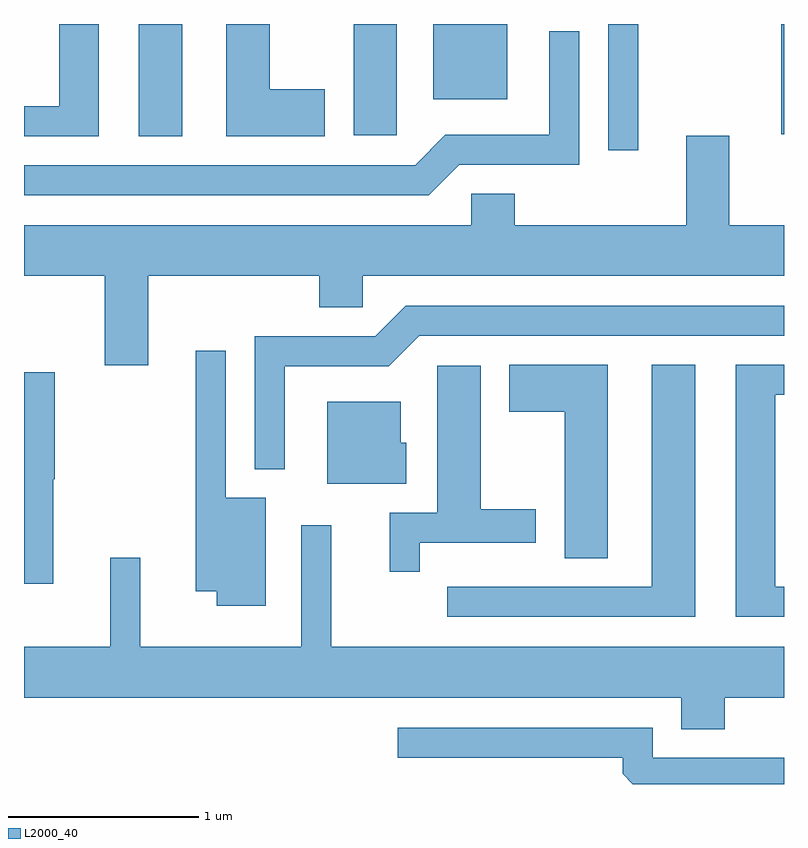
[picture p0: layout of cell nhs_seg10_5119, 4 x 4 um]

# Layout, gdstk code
import gdstk
lib = gdstk.Library(unit=1e-6, precision=1e-09)
def R(c, l, rs):  # rectangles x0, y0, x1, y1
    for r in rs: c.add(gdstk.rectangle(r[:2], r[2:], *l))
def P(c, l, *ps):  # polygons
    for p in ps: c.add(gdstk.Polygon(p, *l))
L2000_40 = (2000, 40)

nhs_seg10_5119 = lib.new_cell('nhs_seg10_5119')
R(nhs_seg10_5119, L2000_40, [(338.686,2167.858,338.844,2168.522), (336.216,2167.931,336.444,2168.522), (337.346,2167.936,337.574,2168.522), (339.596,2167.941,339.611,2168.522), (337.766,2168.126,338.154,2168.522)])
P(nhs_seg10_5119, L2000_40, [(336.004,2168.522),(335.796,2168.522),(335.796,2168.089),(335.611,2168.089),(335.611,2167.931),(336.004,2167.931)],
  [(337.194,2168.179),(336.904,2168.179),(336.904,2168.522),(336.676,2168.522),(336.676,2167.931),(337.194,2167.931)],
  [(337.902,2167.781),(338.534,2167.781),(338.534,2168.483),(338.376,2168.483),(338.376,2167.939),(337.829,2167.939),(337.669,2167.779),(335.611,2167.779),(335.611,2167.621),(337.742,2167.621)],
  [(336.264,2167.196),(337.166,2167.196),(337.166,2167.031),(337.394,2167.031),(337.394,2167.196),(339.611,2167.196),(339.611,2167.464),(339.324,2167.464),(339.324,2167.934),(339.096,2167.934),(339.096,2167.464),(338.194,2167.464),(338.194,2167.629),(337.966,2167.629),(337.966,2167.464),(335.611,2167.464),(335.611,2167.196),(336.036,2167.196),(336.036,2166.726),(336.264,2166.726)],
  [(336.984,2166.721),(337.532,2166.721),(337.692,2166.881),(339.611,2166.881),(339.611,2167.039),(337.619,2167.039),(337.459,2166.879),(336.826,2166.879),(336.826,2166.178),(336.984,2166.178)],
  [(336.884,2166.029),(336.674,2166.029),(336.674,2166.803),(336.516,2166.803),(336.516,2165.536),(336.626,2165.536),(336.626,2165.461),(336.884,2165.461)],
  [(338.684,2166.729),(338.166,2166.729),(338.166,2166.481),(338.456,2166.481),(338.456,2165.711),(338.684,2165.711)],
  [(339.144,2166.729),(338.916,2166.729),(338.916,2165.559),(337.838,2165.559),(337.838,2165.401),(339.144,2165.401)],
  [(339.611,2165.559),(339.564,2165.559),(339.564,2166.571),(339.611,2166.571),(339.611,2166.729),(339.356,2166.729),(339.356,2165.401),(339.611,2165.401)],
  [(337.694,2165.791),(338.304,2165.791),(338.304,2165.969),(338.014,2165.969),(338.014,2166.724),(337.786,2166.724),(337.786,2165.949),(337.536,2165.949),(337.536,2165.638),(337.694,2165.638)],
  [(335.764,2166.125),(335.774,2166.125),(335.774,2166.689),(335.611,2166.689),(335.611,2165.576),(335.764,2165.576)],
  [(337.624,2166.319),(337.594,2166.319),(337.594,2166.534),(337.206,2166.534),(337.206,2166.101),(337.624,2166.101)],
  [(339.299,2164.976),(339.611,2164.976),(339.611,2165.244),(337.229,2165.244),(337.229,2165.883),(337.071,2165.883),(337.071,2165.244),(336.224,2165.244),(336.224,2165.713),(336.066,2165.713),(336.066,2165.244),(335.611,2165.244),(335.611,2164.976),(339.071,2164.976),(339.071,2164.811),(339.299,2164.811)],
  [(339.611,2164.659),(338.919,2164.659),(338.919,2164.819),(337.578,2164.819),(337.578,2164.661),(338.761,2164.661),(338.761,2164.577),(338.816,2164.522),(339.611,2164.522)])

lib.write_gds('nhs_seg10_5119.gds')
